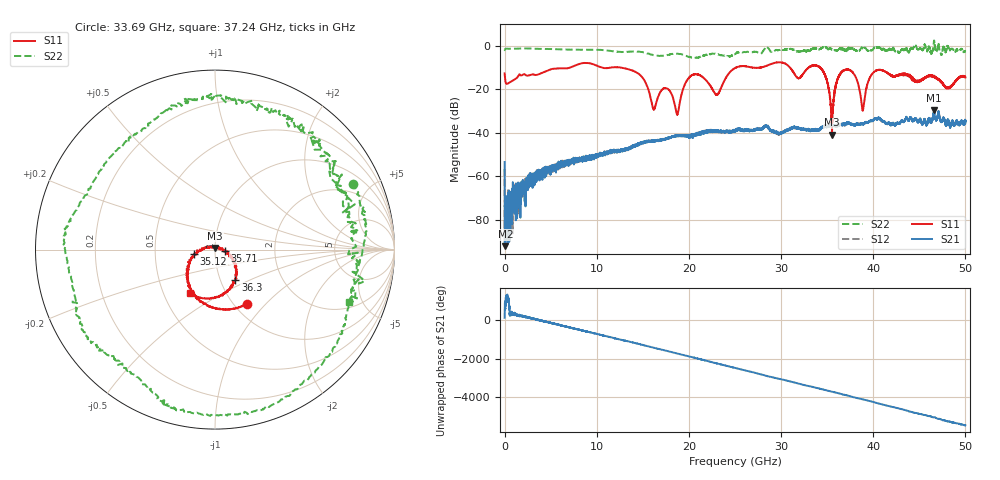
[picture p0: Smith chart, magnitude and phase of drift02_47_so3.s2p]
!Created with skrf (http://scikit-rf.org).
# Hz S RI R 50.0
!freq ReS11 ImS11 ReS21 ImS21 ReS12 ImS12 ReS22 ImS22
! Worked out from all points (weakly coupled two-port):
!   10001 points, 300 kHz to 50 GHz, reference 50 ohm
!   highest |S21| = -29.77 dB at 46.6 GHz (marker M1); lowest = -92.2 dB at 85.3 MHz (marker M2)
!   lowest |S11| = -41.0 dB at 35.53 GHz (marker M3), VSWR 1.02, Z = 50 + j0.887 ohm
!   |S11| at or under -10 dB: start of sweep to 7.175 GHz; 12.36 GHz to 25.18 GHz (12.82 GHz wide, 68.3 % of centre); 34.22 GHz to end of sweep (the widest 3 of 17)
!   |S22| runs from -5.7 to 2.4 dB; largest |S21 - S12| = 0.0038
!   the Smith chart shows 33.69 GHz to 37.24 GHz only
!   S11 on the Smith chart (normalised r, x): 33.69 GHz: 1.15, -0.79; 35.12 GHz: 0.79, -0.04; 35.71 GHz: 1.11, -0.02; 36.3 GHz: 1.18, -0.41; 37.24 GHz: 0.68, -0.36
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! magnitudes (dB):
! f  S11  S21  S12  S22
! 300 kHz  -12.8  -53.5  -56.7  -2.0
! 85.3 MHz  -16.4  -92.2  -78.1  -1.5
! 260.3 MHz  -17.6  -72.4  -72.2  -1.4
! 8.335 GHz  -8.2  -52.9  -52.5  -1.9
! 14.03 GHz  -11.7  -46.1  -46.0  -2.8
! 16.67 GHz  -23.3  -43.6  -43.7  -4.7
! 18.74 GHz  -31.8  -41.4  -41.6  -3.7
! 20.24 GHz  -13.9  -41.2  -41.4  -5.4
! 23.03 GHz  -22.6  -38.9  -39.4  -4.1
! 25 GHz  -10.3  -39.1  -39.1  -3.9
! 33.34 GHz  -9.3  -39.0  -38.6  -1.6
! 33.69 GHz  -9.1  -38.5  -38.6  -1.4
! 35.12 GHz  -18.5  -37.1  -37.3  -1.5
! 35.53 GHz  -41.0  -36.7  -36.8  -1.7
! 35.71 GHz  -25.4  -36.7  -36.5  -1.6
! 36.3 GHz  -13.8  -36.6  -36.4  -1.5
! 37.24 GHz  -11.0  -35.8  -35.6  -1.9
! 38.86 GHz  -29.8  -36.0  -36.1  -1.3
! 39.96 GHz  -12.7  -34.5  -34.4  -1.8
! 41.67 GHz  -12.9  -35.6  -35.7  -1.9
! 46.6 GHz  -14.4  -29.8  -30.0  1.9
! 50 GHz  -14.6  -34.7  -34.4  -2.6
